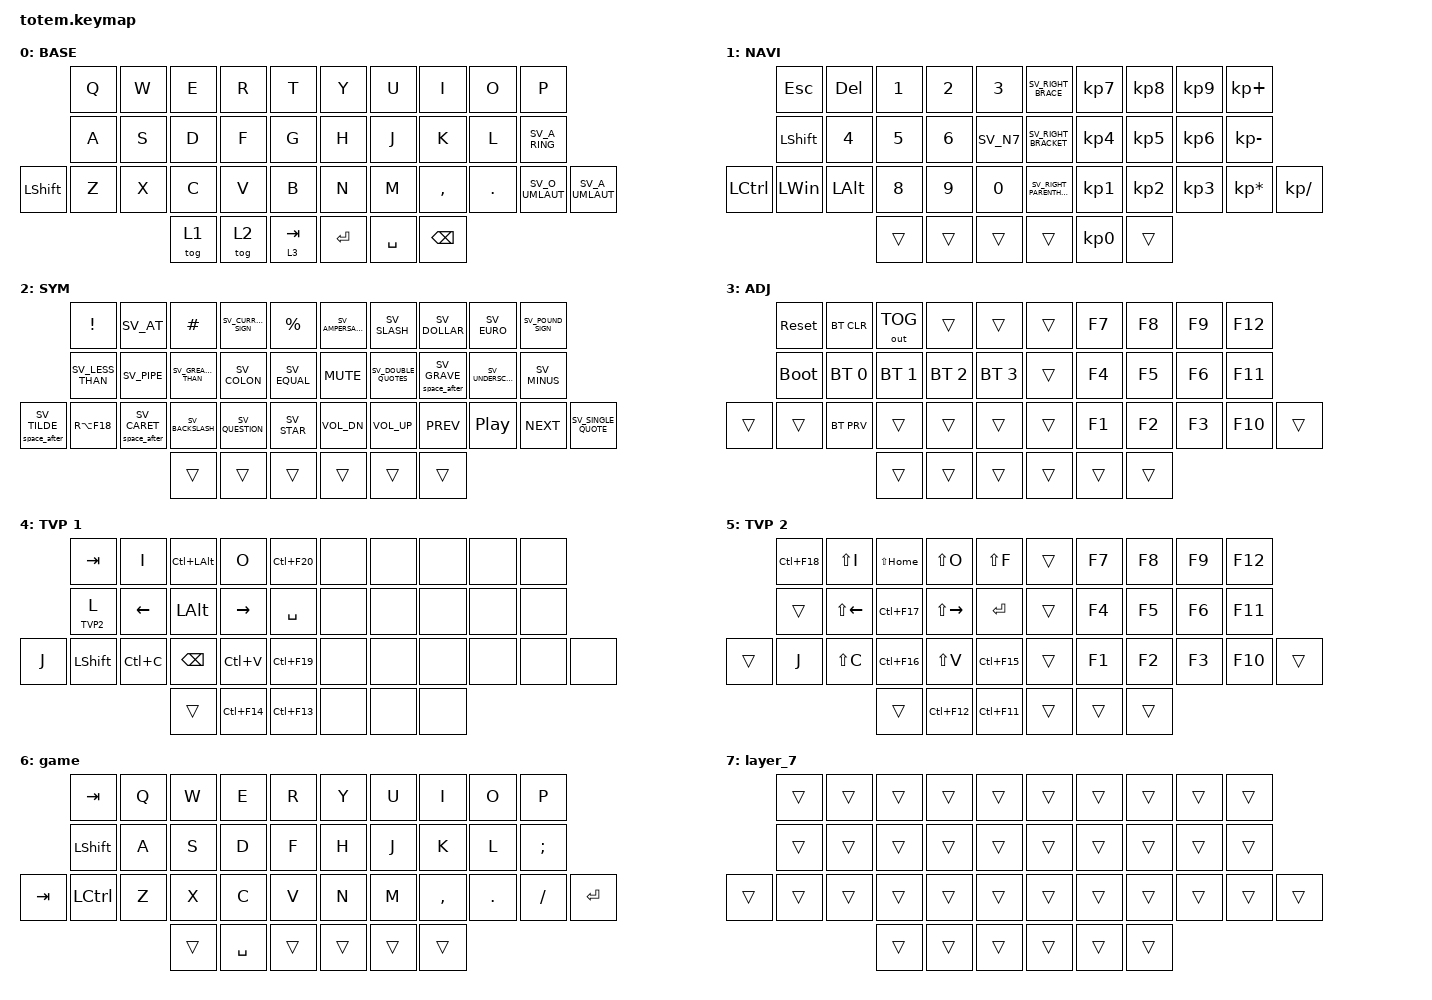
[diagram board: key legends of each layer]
//
//                                                        ▀▀▀▀▀     ▀▀▀▀▀          ▀▀█▀▀
//                                                        ▄▀▀▀▄  ▄  ▄▀▀▀▄  ▄  ▄▀▀▀▄  █  ▄▀▀▀▄
//                                                        █   █  █  █   █  █  █   █  █  █   █
//                                                         ▀▀▀   █   ▀▀▀   █   ▀▀▀   ▀   ▀▀▀
//                                                               █      ▄▄▄█▄▄▄    █   █  
//                                                               ▀      █  █  █     █▄█
//                                                             ▀▀▀▀▀    █  █  █      ▀
//                                                                      ▀  ▀  ▀
//
// ▄▄▄▄▄▄▄▄▄▄▄▄▄▄▄▄▄▄▄▄▄▄▄▄▄▄▄▄▄▄▄▄▄▄▄▄▄▄▄▄▄▄▄▄▄▄▄▄▄▄▄▄▄▄▄▄▄▄▄▄▄▄▄▄▄▄▄▄▄▄▄▄▄▄▄▄▄▄▄▄▄▄▄▄▄▄▄▄▄▄▄▄▄▄▄▄▄▄▄▄▄▄▄▄▄▄▄▄▄▄▄▄▄▄▄▄▄▄▄▄▄▄▄▄▄▄▄▄▄▄▄▄▄▄▄▄▄▄▄▄▄▄▄▄▄▄▄▄▄

#include "keys_sv.h"
#include <behaviors.dtsi>
#include <dt-bindings/zmk/bt.h>
#include <dt-bindings/zmk/keys.h>
#include <dt-bindings/zmk/outputs.h>

#define BASE 0
#define NAV  1
#define SYM  2
#define ADJ  3
#define TVP1 4
#define TVP2 5

&mt {
    quick-tap-ms = <300>;
    global-quick-tap;
    flavor = "tap-preferred";
    tapping-term-ms = <170>;
};

/ {
    combos {
        compatible = "zmk,combos";

        enter {
            bindings = <&kp ENTER>;
            key-positions = <16 17 18>;
        };

        esc {
            bindings = <&kp ESCAPE>;
            key-positions = <0 1>;
            layers = <0>;
        };

        game {
            bindings = <&tog 6>;
            key-positions = <32 33 34>;
        };

        caps_word {
            bindings = <&caps_word>;
            key-positions = <13 16>;
        };
    };

    macros {
        gif: gif {
            label = "giphy";
            compatible = "zmk,behavior-macro";
            #binding-cells = <0>;
            bindings =
                <&macro_press>,
                <&kp LSHFT>,
                <&macro_tap>,
                <&kp N2>,
                <&macro_release>,
                <&kp LSHFT>,
                <&macro_tap>,
                <&kp G &kp I &kp F>;
        };

        space_after: space_after {
            compatible = "zmk,behavior-macro-one-param";
            #binding-cells = <1>;
            bindings =
                <&macro_param_1to1 &kp MACRO_PLACEHOLDER>,
                <&macro_tap>,
                <&kp SPACE>;

            label = "SPACE_AFTER";
        };
    };

    behaviors {
        mt_custom: mt_custom {
            compatible = "zmk,behavior-hold-tap";
            label = "MT_CUSTOM";
            bindings = <&kp>, <&kp>;

            #binding-cells = <2>;
            tapping-term-ms = <400>;
            flavor = "balanced";
            quick-tap-ms = <170>;
            require-prior-idle-ms = <150>;
        };
    };

    keymap {
        compatible = "zmk,keymap";

        // ▄▄▄▄▄▄▄▄▄▄▄▄▄▄▄▄▄▄▄▄▄▄▄▄▄▄▄▄▄▄▄▄▄▄▄▄▄▄▄▄▄▄▄▄▄▄▄▄▄▄▄▄▄▄▄▄▄▄▄▄▄▄▄▄▄▄▄▄▄▄▄▄▄▄▄▄▄▄▄▄▄▄▄▄▄▄▄▄▄▄▄▄▄▄▄▄▄▄▄▄▄▄▄▄▄▄▄▄▄▄▄▄▄▄▄▄▄▄▄▄▄▄▄▄▄▄▄▄▄▄▄▄▄▄▄▄▄▄▄▄▄▄▄▄▄▄▄▄▄

        base_layer {
            // ┏━━━━━━━━━━━━━━━━━━━━━━━━━━━━━━━━━━━━━━━┓

            label = "BASE";

            // ┗━━━━━━━━━━━━━━━━━━━━━━━━━━━━━━━━━━━━━━━┛
            //             ┏━━━━━━━━━━━┳━━━━━━━━━━━┳━━━━━━━━━━━┳━━━━━━━━━━━┳━━━━━━━━━━━┓   ┏━━━━━━━━━━━┳━━━━━━━━━━━┳━━━━━━━━━━━┳━━━━━━━━━━━┳━━━━━━━━━━━┓
            //             ┃     Q     ┃     W     ┃     F     ┃     P     ┃     G     ┃   ┃     J     ┃     L     ┃     U     ┃     Y     ┃     ;     ┃
            //             ┣━━━━━━━━━━━╋━━━━━━━━━━━╋━━━━━━━━━━━╋━━━━━━━━━━━╋━━━━━━━━━━━┫   ┣━━━━━━━━━━━╋━━━━━━━━━━━╋━━━━━━━━━━━╋━━━━━━━━━━━╋━━━━━━━━━━━┫
            //             ┃     A     ┃     R     ┃     S     ┃     T     ┃     D     ┃   ┃     H     ┃     N     ┃     E     ┃     I     ┃     O     ┃
            // ┏━━━━━━━━━━━╋━━━━━━━━━━━╋━━━━━━━━━━━╋━━━━━━━━━━━╋━━━━━━━━━━━╋━━━━━━━━━━━┫   ┣━━━━━━━━━━━╋━━━━━━━━━━━╋━━━━━━━━━━━╋━━━━━━━━━━━╋━━━━━━━━━━━╋━━━━━━━━━━━┓
            // ┃     Q     ┃     Z     ┃     X     ┃     C     ┃     V     ┃     B     ┃   ┃     K     ┃     M     ┃     ,     ┃     .     ┃     /     ┃     \     ┃
            // ┗━━━━━━━━━━━┻━━━━━━━━━━━┻━━━━━━━━━━━╋━━━━━━━━━━━╋━━━━━━━━━━━╋━━━━━━━━━━━┫   ┣━━━━━━━━━━━╋━━━━━━━━━━━╋━━━━━━━━━━━╋━━━━━━━━━━━┻━━━━━━━━━━━┻━━━━━━━━━━━┛
            //                                     ┃    DEL    ┃    TAB    ┃    SPC    ┃   ┃   ENTER   ┃           ┃   BSPC    ┃
            //                                     ┗━━━━━━━━━━━┻━━━━━━━━━━━┻━━━━━━━━━━━┛   ┗━━━━━━━━━━━┻━━━━━━━━━━━┻━━━━━━━━━━━┛

            bindings = <
           &kp Q  &kp W  &kp E   &kp R   &kp T        &kp Y      &kp U      &kp I          &kp O    &kp P
           &kp A  &kp S  &kp D   &kp F   &kp G        &kp H      &kp J      &kp K          &kp L    &kp SV_A_RING
&kp LSHFT  &kp Z  &kp X  &kp C   &kp V   &kp B        &kp N      &kp M      &kp COMMA      &kp DOT  &kp SV_O_UMLAUT  &kp SV_A_UMLAUT
                         &tog 1  &tog 2  &lt 3 TAB    &kp ENTER  &kp SPACE  &kp BACKSPACE
            >;
        };

        // ▄▄▄▄▄▄▄▄▄▄▄▄▄▄▄▄▄▄▄▄▄▄▄▄▄▄▄▄▄▄▄▄▄▄▄▄▄▄▄▄▄▄▄▄▄▄▄▄▄▄▄▄▄▄▄▄▄▄▄▄▄▄▄▄▄▄▄▄▄▄▄▄▄▄▄▄▄▄▄▄▄▄▄▄▄▄▄▄▄▄▄▄▄▄▄▄▄▄▄▄▄▄▄▄▄▄▄▄▄▄▄▄▄▄▄▄▄▄▄▄▄▄▄▄▄▄▄▄▄▄▄▄▄▄▄▄▄▄▄▄▄▄▄▄▄▄▄▄▄

        nav_layer {
            // ┏━━━━━━━━━━━━━━━━━━━━━━━━━━━━━━━━━━━━━━━┓

            label = "NAVI";

            // ┗━━━━━━━━━━━━━━━━━━━━━━━━━━━━━━━━━━━━━━━┛
            //             ┏━━━━━━━━━━━┳━━━━━━━━━━━┳━━━━━━━━━━━┳━━━━━━━━━━━┳━━━━━━━━━━━┓   ┏━━━━━━━━━━━┳━━━━━━━━━━━┳━━━━━━━━━━━┳━━━━━━━━━━━┳━━━━━━━━━━━┓
            //             ┃           ┃           ┃     UP    ┃           ┃     {     ┃   ┃     }     ┃     7     ┃     8     ┃     9     ┃     +     ┃
            //             ┣━━━━━━━━━━━╋━━━━━━━━━━━╋━━━━━━━━━━━╋━━━━━━━━━━━╋━━━━━━━━━━━┫   ┣━━━━━━━━━━━╋━━━━━━━━━━━╋━━━━━━━━━━━╋━━━━━━━━━━━╋━━━━━━━━━━━┫
            //             ┃   SHIFT   ┃   LEFT    ┃    DOWN   ┃   RIGHT   ┃     [     ┃   ┃     ]     ┃     4     ┃     5     ┃     6     ┃     -     ┃
            // ┏━━━━━━━━━━━╋━━━━━━━━━━━╋━━━━━━━━━━━╋━━━━━━━━━━━╋━━━━━━━━━━━╋━━━━━━━━━━━┫   ┣━━━━━━━━━━━╋━━━━━━━━━━━╋━━━━━━━━━━━╋━━━━━━━━━━━╋━━━━━━━━━━━╋━━━━━━━━━━━┓
            // ┃           ┃           ┃   P UP    ┃  C LOCK   ┃  P DOWN   ┃     (     ┃   ┃     )     ┃     1     ┃     2     ┃     3     ┃     *     ┃           ┃
            // ┗━━━━━━━━━━━┻━━━━━━━━━━━┻━━━━━━━━━━━╋━━━━━━━━━━━╋━━━━━━━━━━━╋━━━━━━━━━━━┫   ┣━━━━━━━━━━━╋━━━━━━━━━━━╋━━━━━━━━━━━╋━━━━━━━━━━━┻━━━━━━━━━━━┻━━━━━━━━━━━┛
            //                                     ┃           ┃    TAB    ┃    SPC    ┃   ┃    DEL    ┃     0     ┃           ┃
            //                                     ┗━━━━━━━━━━━┻━━━━━━━━━━━┻━━━━━━━━━━━┛   ┗━━━━━━━━━━━┻━━━━━━━━━━━┻━━━━━━━━━━━┛

            bindings = <
           &kp ESC       &kp DELETE    &kp NUMBER_1  &kp N2  &kp NUMBER_3    &kp SV_RIGHT_BRACE        &kp KP_N7  &kp KP_N8  &kp KP_N9  &kp KP_PLUS
           &kp LSHFT     &kp NUMBER_4  &kp NUMBER_5  &kp N6  &kp SV_N7       &kp SV_RIGHT_BRACKET      &kp KP_N4  &kp KP_N5  &kp KP_N6  &kp KP_MINUS
&kp LCTRL  &kp LEFT_WIN  &kp LEFT_ALT  &kp N8        &kp N9  &kp N0          &kp SV_RIGHT_PARENTHESIS  &kp KP_N1  &kp KP_N2  &kp KP_N3  &kp KP_MULTIPLY  &kp KP_DIVIDE
                                       &trans        &trans  &trans          &trans                    &kp KP_N0  &trans
            >;
        };

        // ▄▄▄▄▄▄▄▄▄▄▄▄▄▄▄▄▄▄▄▄▄▄▄▄▄▄▄▄▄▄▄▄▄▄▄▄▄▄▄▄▄▄▄▄▄▄▄▄▄▄▄▄▄▄▄▄▄▄▄▄▄▄▄▄▄▄▄▄▄▄▄▄▄▄▄▄▄▄▄▄▄▄▄▄▄▄▄▄▄▄▄▄▄▄▄▄▄▄▄▄▄▄▄▄▄▄▄▄▄▄▄▄▄▄▄▄▄▄▄▄▄▄▄▄▄▄▄▄▄▄▄▄▄▄▄▄▄▄▄▄▄▄▄▄▄▄▄▄▄

        sim_layer {
            // ┏━━━━━━━━━━━━━━━━━━━━━━━━━━━━━━━━━━━━━━━┓

            label = "SYM";

            // ┗━━━━━━━━━━━━━━━━━━━━━━━━━━━━━━━━━━━━━━━┛
            //             ┏━━━━━━━━━━━┳━━━━━━━━━━━┳━━━━━━━━━━━┳━━━━━━━━━━━┳━━━━━━━━━━━┓   ┏━━━━━━━━━━━┳━━━━━━━━━━━┳━━━━━━━━━━━┳━━━━━━━━━━━┳━━━━━━━━━━━┓
            //             ┃     !     ┃     @     ┃     #     ┃     $     ┃     %     ┃   ┃     ˆ     ┃     &     ┃     Ü     ┃     '     ┃     "     ┃
            //             ┣━━━━━━━━━━━╋━━━━━━━━━━━╋━━━━━━━━━━━╋━━━━━━━━━━━╋━━━━━━━━━━━┫   ┣━━━━━━━━━━━╋━━━━━━━━━━━╋━━━━━━━━━━━╋━━━━━━━━━━━╋━━━━━━━━━━━┫
            //             ┃     Ä     ┃           ┃    SZ     ┃           ┃           ┃   ┃   MUTE    ┃   YEN     ┃   EURO    ┃  POUND    ┃     Ö     ┃
            // ┏━━━━━━━━━━━╋━━━━━━━━━━━╋━━━━━━━━━━━╋━━━━━━━━━━━╋━━━━━━━━━━━╋━━━━━━━━━━━┫   ┣━━━━━━━━━━━╋━━━━━━━━━━━╋━━━━━━━━━━━╋━━━━━━━━━━━╋━━━━━━━━━━━╋━━━━━━━━━━━┓
            // ┃           ┃  EMAIL1   ┃  EMAIL2   ┃           ┃           ┃           ┃   ┃   VOL-    ┃   VOL+    ┃   LAST    ┃   NEXT    ┃     \     ┃           ┃
            // ┗━━━━━━━━━━━┻━━━━━━━━━━━┻━━━━━━━━━━━╋━━━━━━━━━━━╋━━━━━━━━━━━╋━━━━━━━━━━━┫   ┣━━━━━━━━━━━╋━━━━━━━━━━━╋━━━━━━━━━━━╋━━━━━━━━━━━┻━━━━━━━━━━━┻━━━━━━━━━━━┛
            //                                     ┃           ┃    GIF    ┃    ADJ    ┃   ┃           ┃           ┃           ┃
            //                                     ┗━━━━━━━━━━━┻━━━━━━━━━━━┻━━━━━━━━━━━┛   ┗━━━━━━━━━━━┻━━━━━━━━━━━┻━━━━━━━━━━━┛

            bindings = <
                       &kp EXCL          &kp SV_AT              &kp HASH             &kp SV_CURRENCY_SIGN  &kp PRCNT       &kp SV_AMPERSAND  &kp SV_SLASH          &kp SV_DOLLAR          &kp SV_EURO        &kp SV_POUND_SIGN
                       &kp SV_LESS_THAN  &kp SV_PIPE            &kp SV_GREATER_THAN  &kp SV_COLON          &kp SV_EQUAL    &kp C_MUTE        &kp SV_DOUBLE_QUOTES  &space_after SV_GRAVE  &kp SV_UNDERSCORE  &kp SV_MINUS
&space_after SV_TILDE  &kp RA(F18)       &space_after SV_CARET  &kp SV_BACKSLASH     &kp SV_QUESTION       &kp SV_STAR     &kp C_VOL_DN      &kp C_VOL_UP          &kp C_PREV             &kp C_PLAY_PAUSE   &kp C_NEXT         &kp SV_SINGLE_QUOTE
                                                                &trans               &trans                &trans          &trans            &trans                &trans
            >;
        };

        // ▄▄▄▄▄▄▄▄▄▄▄▄▄▄▄▄▄▄▄▄▄▄▄▄▄▄▄▄▄▄▄▄▄▄▄▄▄▄▄▄▄▄▄▄▄▄▄▄▄▄▄▄▄▄▄▄▄▄▄▄▄▄▄▄▄▄▄▄▄▄▄▄▄▄▄▄▄▄▄▄▄▄▄▄▄▄▄▄▄▄▄▄▄▄▄▄▄▄▄▄▄▄▄▄▄▄▄▄▄▄▄▄▄▄▄▄▄▄▄▄▄▄▄▄▄▄▄▄▄▄▄▄▄▄▄▄▄▄▄▄▄▄▄▄▄▄▄▄▄

        adjust_layer {
            // ┏━━━━━━━━━━━━━━━━━━━━━━━━━━━━━━━━━━━━━━━┓

            label = "ADJ";

            // ┗━━━━━━━━━━━━━━━━━━━━━━━━━━━━━━━━━━━━━━━┛
            //             ┏━━━━━━━━━━━┳━━━━━━━━━━━┳━━━━━━━━━━━┳━━━━━━━━━━━┳━━━━━━━━━━━┓   ┏━━━━━━━━━━━┳━━━━━━━━━━━┳━━━━━━━━━━━┳━━━━━━━━━━━┳━━━━━━━━━━━┓
            //             ┃   RESET   ┃ BT CLEAR  ┃  OUT TOG  ┃           ┃           ┃   ┃           ┃    F7     ┃    F8     ┃    F9     ┃    F12    ┃
            //             ┣━━━━━━━━━━━╋━━━━━━━━━━━╋━━━━━━━━━━━╋━━━━━━━━━━━╋━━━━━━━━━━━┫   ┣━━━━━━━━━━━╋━━━━━━━━━━━╋━━━━━━━━━━━╋━━━━━━━━━━━╋━━━━━━━━━━━┫
            //             ┃ BOOTLOAD  ┃ BT NEXT   ┃           ┃           ┃           ┃   ┃           ┃    F4     ┃    F5     ┃    F6     ┃    F11    ┃
            // ┏━━━━━━━━━━━╋━━━━━━━━━━━╋━━━━━━━━━━━╋━━━━━━━━━━━╋━━━━━━━━━━━╋━━━━━━━━━━━┫   ┣━━━━━━━━━━━╋━━━━━━━━━━━╋━━━━━━━━━━━╋━━━━━━━━━━━╋━━━━━━━━━━━╋━━━━━━━━━━━┓
            // ┃           ┃           ┃ BT PREV   ┃           ┃           ┃           ┃   ┃           ┃    F1     ┃    F2     ┃    F3     ┃    F10    ┃           ┃
            // ┗━━━━━━━━━━━┻━━━━━━━━━━━┻━━━━━━━━━━━╋━━━━━━━━━━━╋━━━━━━━━━━━╋━━━━━━━━━━━┫   ┣━━━━━━━━━━━╋━━━━━━━━━━━╋━━━━━━━━━━━╋━━━━━━━━━━━┻━━━━━━━━━━━┻━━━━━━━━━━━┛
            //                                     ┃           ┃           ┃           ┃   ┃           ┃           ┃           ┃
            //                                     ┗━━━━━━━━━━━┻━━━━━━━━━━━┻━━━━━━━━━━━┛   ┗━━━━━━━━━━━┻━━━━━━━━━━━┻━━━━━━━━━━━┛

            bindings = <
        &sys_reset   &bt BT_CLR    &out OUT_TOG  &trans        &trans          &trans  &kp F7  &kp F8  &kp F9  &kp F12
        &bootloader  &bt BT_SEL 0  &bt BT_SEL 1  &bt BT_SEL 2  &bt BT_SEL 3    &trans  &kp F4  &kp F5  &kp F6  &kp F11
&trans  &trans       &bt BT_PRV    &trans        &trans        &trans          &trans  &kp F1  &kp F2  &kp F3  &kp F10  &trans
                                   &trans        &trans        &trans          &trans  &trans  &trans
            >;
        };

        // ▄▄▄▄▄▄▄▄▄▄▄▄▄▄▄▄▄▄▄▄▄▄▄▄▄▄▄▄▄▄▄▄▄▄▄▄▄▄▄▄▄▄▄▄▄▄▄▄▄▄▄▄▄▄▄▄▄▄▄▄▄▄▄▄▄▄▄▄▄▄▄▄▄▄▄▄▄▄▄▄▄▄▄▄▄▄▄▄▄▄▄▄▄▄▄▄▄▄▄▄▄▄▄▄▄▄▄▄▄▄▄▄▄▄▄▄▄▄▄▄▄▄▄▄▄▄▄▄▄▄▄▄▄▄▄▄▄▄▄▄▄▄▄▄▄▄▄▄▄

        tvp1_layer {
            // ┏━━━━━━━━━━━━━━━━━━━━━━━━━━━━━━━━━━━━━━━┓

            label = "TVP 1";

            // ┗━━━━━━━━━━━━━━━━━━━━━━━━━━━━━━━━━━━━━━━┛
            //             ┏━━━━━━━━━━━┳━━━━━━━━━━━┳━━━━━━━━━━━┳━━━━━━━━━━━┳━━━━━━━━━━━┓   ┏━━━━━━━━━━━┳━━━━━━━━━━━┳━━━━━━━━━━━┳━━━━━━━━━━━┳━━━━━━━━━━━┓
            //             ┃ NEXT FILE ┃ MARK IN   ┃ ROTATE    ┃ MARK OUT  ┃ SHOW SNAP ┃   ┃           ┃           ┃           ┃           ┃           ┃
            //             ┣━━━━━━━━━━━╋━━━━━━━━━━━╋━━━━━━━━━━━╋━━━━━━━━━━━╋━━━━━━━━━━━┫   ┣━━━━━━━━━━━╋━━━━━━━━━━━╋━━━━━━━━━━━╋━━━━━━━━━━━╋━━━━━━━━━━━┫
            //             ┃ TVP II    ┃ LEFT      ┃ PAN       ┃ RIGHT     ┃ PLAY/FLIP ┃   ┃           ┃           ┃           ┃           ┃           ┃
            // ┏━━━━━━━━━━━╋━━━━━━━━━━━╋━━━━━━━━━━━╋━━━━━━━━━━━╋━━━━━━━━━━━╋━━━━━━━━━━━┫   ┣━━━━━━━━━━━╋━━━━━━━━━━━╋━━━━━━━━━━━╋━━━━━━━━━━━╋━━━━━━━━━━━╋━━━━━━━━━━━┓
            // ┃ FULLSCR   ┃ SHIFT     ┃ COPY      ┃ DELETE    ┃ PASTE     ┃ IMG MARK  ┃   ┃           ┃           ┃           ┃           ┃           ┃           ┃
            // ┗━━━━━━━━━━━┻━━━━━━━━━━━┻━━━━━━━━━━━╋━━━━━━━━━━━╋━━━━━━━━━━━╋━━━━━━━━━━━┫   ┣━━━━━━━━━━━╋━━━━━━━━━━━╋━━━━━━━━━━━╋━━━━━━━━━━━┻━━━━━━━━━━━┻━━━━━━━━━━━┛
            //                                     ┃           ┃ UNDO/SAVE ┃  SEL/MOV  ┃   ┃           ┃           ┃           ┃
            //                                     ┗━━━━━━━━━━━┻━━━━━━━━━━━┻━━━━━━━━━━━┛   ┗━━━━━━━━━━━┻━━━━━━━━━━━┻━━━━━━━━━━━┛

            bindings = <
       &kp TAB     &kp I      &kp LC(LALT)  &kp O        &kp LC(F20)    &none  &none  &none  &none  &none
       &lt TVP2 L  &kp LEFT   &kp LALT      &kp RIGHT    &kp SPACE      &none  &none  &none  &none  &none
&kp J  &kp LSHFT   &kp LC(C)  &kp BSPC      &kp LC(V)    &kp LC(F19)    &none  &none  &none  &none  &none  &none
                              &trans        &kp LC(F14)  &kp LC(F13)    &none  &none  &none
            >;
        };

        // ▄▄▄▄▄▄▄▄▄▄▄▄▄▄▄▄▄▄▄▄▄▄▄▄▄▄▄▄▄▄▄▄▄▄▄▄▄▄▄▄▄▄▄▄▄▄▄▄▄▄▄▄▄▄▄▄▄▄▄▄▄▄▄▄▄▄▄▄▄▄▄▄▄▄▄▄▄▄▄▄▄▄▄▄▄▄▄▄▄▄▄▄▄▄▄▄▄▄▄▄▄▄▄▄▄▄▄▄▄▄▄▄▄▄▄▄▄▄▄▄▄▄▄▄▄▄▄▄▄▄▄▄▄▄▄▄▄▄▄▄▄▄▄▄▄▄▄▄▄

        tvp2_layer {
            // ┏━━━━━━━━━━━━━━━━━━━━━━━━━━━━━━━━━━━━━━━┓

            label = "TVP 2";

            // ┗━━━━━━━━━━━━━━━━━━━━━━━━━━━━━━━━━━━━━━━┛
            //             ┏━━━━━━━━━━━┳━━━━━━━━━━━┳━━━━━━━━━━━┳━━━━━━━━━━━┳━━━━━━━━━━━┓   ┏━━━━━━━━━━━┳━━━━━━━━━━━┳━━━━━━━━━━━┳━━━━━━━━━━━┳━━━━━━━━━━━┓
            //             ┃ SOLO      ┃ TOGGLE IN ┃ RESET ROT ┃ TOGGLE OUT┃ TAKE SNAP ┃   ┃           ┃           ┃           ┃           ┃           ┃
            //             ┣━━━━━━━━━━━╋━━━━━━━━━━━╋━━━━━━━━━━━╋━━━━━━━━━━━╋━━━━━━━━━━━┫   ┣━━━━━━━━━━━╋━━━━━━━━━━━╋━━━━━━━━━━━╋━━━━━━━━━━━╋━━━━━━━━━━━┫
            //             ┃ ---       ┃ LAST KEY  ┃ NEW KEY   ┃ NEXT KEY  ┃ ENTER     ┃   ┃           ┃           ┃           ┃           ┃           ┃
            // ┏━━━━━━━━━━━╋━━━━━━━━━━━╋━━━━━━━━━━━╋━━━━━━━━━━━╋━━━━━━━━━━━╋━━━━━━━━━━━┫   ┣━━━━━━━━━━━╋━━━━━━━━━━━╋━━━━━━━━━━━╋━━━━━━━━━━━╋━━━━━━━━━━━╋━━━━━━━━━━━┓
            // ┃           ┃ FULLSCR   ┃ CPY2BRUSH ┃ DEL HEAD  ┃ PSTinPLACE┃ BOOK MARK ┃   ┃           ┃           ┃           ┃           ┃           ┃           ┃
            // ┗━━━━━━━━━━━┻━━━━━━━━━━━┻━━━━━━━━━━━╋━━━━━━━━━━━╋━━━━━━━━━━━╋━━━━━━━━━━━┫   ┣━━━━━━━━━━━╋━━━━━━━━━━━╋━━━━━━━━━━━╋━━━━━━━━━━━┻━━━━━━━━━━━┻━━━━━━━━━━━┛
            //                                     ┃           ┃ REDO/SAV1 ┃TRANS/WARP ┃   ┃           ┃           ┃           ┃
            //                                     ┗━━━━━━━━━━━┻━━━━━━━━━━━┻━━━━━━━━━━━┛   ┗━━━━━━━━━━━┻━━━━━━━━━━━┻━━━━━━━━━━━┛

            bindings = <
        &kp LC(F18)  &kp LS(I)     &kp LS(HOME)  &kp LS(O)      &kp LS(F)      &trans  &kp F7  &kp F8  &kp F9  &kp F12
        &trans       &kp LS(LEFT)  &kp LC(F17)   &kp LS(RIGHT)  &kp RET        &trans  &kp F4  &kp F5  &kp F6  &kp F11
&trans  &kp J        &kp LS(C)     &kp LC(F16)   &kp LS(V)      &kp LC(F15)    &trans  &kp F1  &kp F2  &kp F3  &kp F10  &trans
                                   &trans        &kp LC(F12)    &kp LC(F11)    &trans  &trans  &trans
            >;
        };

        game {
            bindings = <
         &kp TAB    &kp Q  &kp W   &kp E      &kp R     &kp Y   &kp U   &kp I      &kp O    &kp P
         &kp LSHFT  &kp A  &kp S   &kp D      &kp F     &kp H   &kp J   &kp K      &kp L    &kp SEMI
&kp TAB  &kp LCTRL  &kp Z  &kp X   &kp C      &kp V     &kp N   &kp M   &kp COMMA  &kp DOT  &kp FSLH  &kp ENTER
                           &trans  &kp SPACE  &trans    &trans  &trans  &trans
            >;
        };

        layer_7 {
            bindings = <
        &trans  &trans  &trans  &trans  &trans    &trans  &trans  &trans  &trans  &trans
        &trans  &trans  &trans  &trans  &trans    &trans  &trans  &trans  &trans  &trans
&trans  &trans  &trans  &trans  &trans  &trans    &trans  &trans  &trans  &trans  &trans  &trans
                        &trans  &trans  &trans    &trans  &trans  &trans
            >;
        };
    };
};
